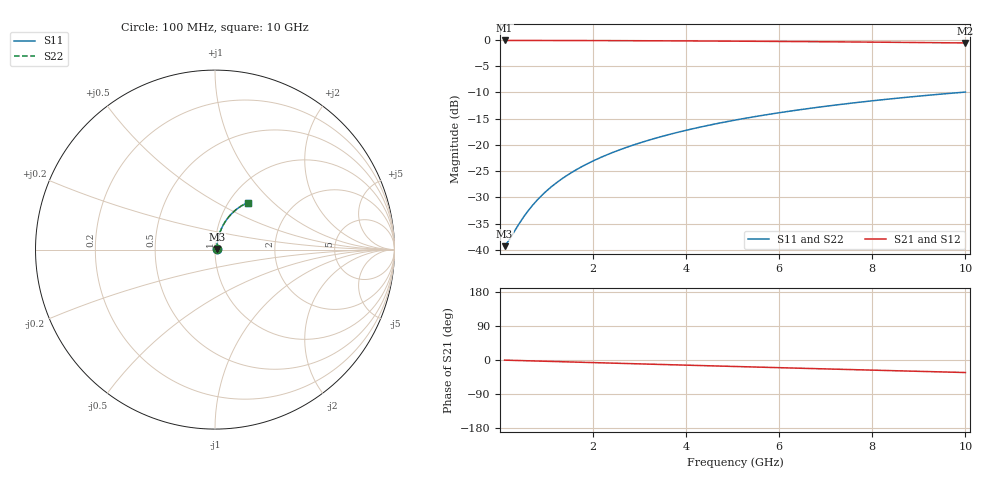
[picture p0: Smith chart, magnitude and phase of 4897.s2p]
# Hz S RI R 50.00
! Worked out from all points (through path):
!   100 points, 100 MHz to 10 GHz, reference 50 ohm
!   highest |S21| = -0.09 dB at 100 MHz (marker M1); lowest = -0.6 dB at 10 GHz (marker M2)
!   group delay of S21, straight-line fit = 9.2 ps
!   lowest |S11| = -39.3 dB at 100 MHz (marker M3), VSWR 1.02, Z = 51 + j0.351 ohm
!   |S11| at or under -10 dB: start of sweep to 9.891 GHz
!   |S22| runs from -39.3 to -9.9 dB; largest |S21 - S12| = 0
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1e8  0.0103 0.00343  0.9897 -0.00591  0.9897 -0.00591  0.0103 0.00343
2e8  0.0104 0.00687  0.9895 -0.0118  0.9895 -0.0118  0.0104 0.00687
4e8  0.0108 0.0137  0.9892 -0.0236  0.9892 -0.0236  0.0108 0.0137
5e8  0.011 0.0171  0.9889 -0.0295  0.9889 -0.0295  0.011 0.0171
6e8  0.0113 0.0206  0.9886 -0.0354  0.9886 -0.0354  0.0113 0.0206
7e8  0.0115 0.024  0.9883 -0.0413  0.9883 -0.0413  0.0115 0.024
9e8  0.0122 0.0308  0.9875 -0.0531  0.9875 -0.0531  0.0122 0.0308
1.1e9  0.0131 0.0376  0.9865 -0.0648  0.9865 -0.0648  0.0131 0.0376
1.3e9  0.0141 0.0444  0.9853 -0.0765  0.9853 -0.0765  0.0141 0.0444
1.5e9  0.0153 0.0511  0.984 -0.0882  0.984 -0.0882  0.0153 0.0511
1.8e9  0.0173 0.0612  0.9816 -0.1057  0.9816 -0.1057  0.0173 0.0612
2.1e9  0.0198 0.0711  0.9788 -0.1231  0.9788 -0.1231  0.0198 0.0711
2.5e9  0.0235 0.0843  0.9745 -0.1461  0.9745 -0.1461  0.0235 0.0843
2.9e9  0.0278 0.0972  0.9695 -0.1689  0.9695 -0.1689  0.0278 0.0972
3.4e9  0.0341 0.1129  0.9622 -0.1971  0.9622 -0.1971  0.0341 0.1129
4.2e9  0.046 0.1371  0.9485 -0.2412  0.9485 -0.2412  0.046 0.1371
5.1e9  0.0618 0.1627  0.93 -0.2892  0.93 -0.2892  0.0618 0.1627
5.9e9  0.078 0.1838  0.9111 -0.3302  0.9111 -0.3302  0.078 0.1838
6.7e9  0.0958 0.2031  0.8901 -0.3694  0.8901 -0.3694  0.0958 0.2031
7.5e9  0.1151 0.2205  0.8672 -0.4069  0.8672 -0.4069  0.1151 0.2205
8.4e9  0.1383 0.2377  0.8394 -0.4466  0.8394 -0.4466  0.1383 0.2377
1e10  0.1824 0.2618  0.7857 -0.511  0.7857 -0.511  0.1824 0.2618
